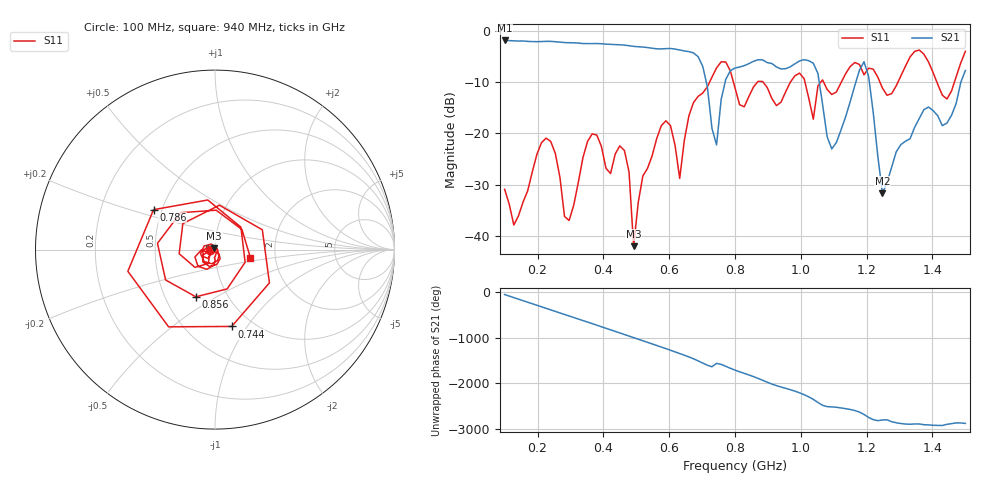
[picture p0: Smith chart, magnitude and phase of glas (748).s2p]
! NanoVNA-App
! Date: 2025-09-25 16:01:18
! Start: 100MHz Stop: 1,5GHz Points: 101
! S-Parameter data: F S11 S21 S12 S22
# Hz S RI R 50
!  Frequency  S11_Real  S11_Imag  S21_Real  S21_Imag  S12_Real  S12_Imag  S22_Real  S22_Imag
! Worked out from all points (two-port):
!   101 points, 100 MHz to 1.5 GHz, reference 50 ohm
!   highest |S21| = -1.80 dB at 100 MHz (marker M1); lowest = -31.7 dB at 1.248 GHz (marker M2)
!   |S21| within 3 dB of the highest: start of sweep to 684.6 MHz
!   lowest |S11| = -42.1 dB at 492 MHz (marker M3), VSWR 1.02, Z = 49.5 + j0.617 ohm
!   |S11| at or under -10 dB: start of sweep to 722.5 MHz; 795.4 MHz to 867.7 MHz (72.24 MHz wide, 8.69 % of centre); 886 MHz to 967.8 MHz (81.86 MHz wide, 8.83 % of centre) (the widest 3 of 7)
!   S12 and S22 are empty: the file has one direction only
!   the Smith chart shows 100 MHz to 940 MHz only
!   S11 on the Smith chart (normalised r, x): 100 MHz: 0.94, -0.01; 744 MHz: 0.80, -0.85; 786 MHz: 0.45, +0.24; 856 MHz: 0.71, -0.41; 940 MHz: 1.48, -0.14
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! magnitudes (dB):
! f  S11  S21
! 100 MHz  -30.9  -1.8
! 128 MHz  -37.9  -1.9
! 226 MHz  -20.9  -2.0
! 296 MHz  -37.0  -2.2
! 338 MHz  -24.7  -2.4
! 464 MHz  -23.3  -2.7
! 492 MHz  -42.1  -3.0
! 576 MHz  -18.5  -3.5
! 632 MHz  -28.8  -3.7
! 702 MHz  -12.1  -6.9
! 744 MHz  -7.2  -22.2
! 786 MHz  -7.8  -7.7
! 800 MHz  -11.1  -7.2
! 856 MHz  -10.9  -5.9
! 940 MHz  -13.9  -7.4
! 996 MHz  -8.2  -5.8
! 1.038 GHz  -17.2  -6.3
! 1.094 GHz  -12.4  -23.0
! 1.192 GHz  -8.5  -6.0
! 1.248 GHz  -11.1  -31.7
! 1.276 GHz  -12.2  -26.6
! 1.5 GHz  -3.9  -7.7
